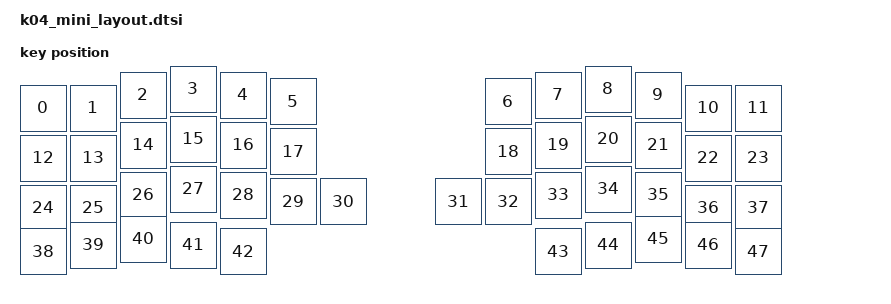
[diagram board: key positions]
#include <physical_layouts.dtsi>

/ {
    physical_layout: physical_layout {
        compatible = "zmk,physical-layout";
        display-name = "K:04 Mini";

        kscan = <&kscan0>;
        transform = <&default_transform>;

        keys  //                     w   h    x    y     rot    rx    ry
            = <&key_physical_attrs 100 100    0   38       0     0     0>
            , <&key_physical_attrs 100 100  100   38       0     0     0>
            , <&key_physical_attrs 100 100  200   12       0     0     0>
            , <&key_physical_attrs 100 100  300    0       0     0     0>
            , <&key_physical_attrs 100 100  400   12       0     0     0>
            , <&key_physical_attrs 100 100  500   25       0     0     0>
            , <&key_physical_attrs 100 100  930   25       0     0     0>
            , <&key_physical_attrs 100 100 1030   12       0     0     0>
            , <&key_physical_attrs 100 100 1130    0       0     0     0>
            , <&key_physical_attrs 100 100 1230   12       0     0     0>
            , <&key_physical_attrs 100 100 1330   38       0     0     0>
            , <&key_physical_attrs 100 100 1430   38       0     0     0>
            , <&key_physical_attrs 100 100    0  138       0     0     0>
            , <&key_physical_attrs 100 100  100  138       0     0     0>
            , <&key_physical_attrs 100 100  200  112       0     0     0>
            , <&key_physical_attrs 100 100  300  100       0     0     0>
            , <&key_physical_attrs 100 100  400  112       0     0     0>
            , <&key_physical_attrs 100 100  500  125       0     0     0>
            , <&key_physical_attrs 100 100  930  125       0     0     0>
            , <&key_physical_attrs 100 100 1030  112       0     0     0>
            , <&key_physical_attrs 100 100 1130  100       0     0     0>
            , <&key_physical_attrs 100 100 1230  112       0     0     0>
            , <&key_physical_attrs 100 100 1330  138       0     0     0>
            , <&key_physical_attrs 100 100 1430  138       0     0     0>
            , <&key_physical_attrs 100 100    0  238       0     0     0>
            , <&key_physical_attrs 100 100  100  238       0     0     0>
            , <&key_physical_attrs 100 100  200  212       0     0     0>
            , <&key_physical_attrs 100 100  300  200       0     0     0>
            , <&key_physical_attrs 100 100  400  212       0     0     0>
            , <&key_physical_attrs 100 100  500  225       0     0     0>
            , <&key_physical_attrs 100 100  600  225       0     0     0>
            , <&key_physical_attrs 100 100  830  225       0     0     0>
            , <&key_physical_attrs 100 100  930  225       0     0     0>
            , <&key_physical_attrs 100 100 1030  212       0     0     0>
            , <&key_physical_attrs 100 100 1130  200       0     0     0>
            , <&key_physical_attrs 100 100 1230  212       0     0     0>
            , <&key_physical_attrs 100 100 1330  238       0     0     0>
            , <&key_physical_attrs 100 100 1430  238       0     0     0>
            , <&key_physical_attrs 100 100    0  325       0     0     0>
            , <&key_physical_attrs 100 100  100  312       0     0     0>
            , <&key_physical_attrs 100 100  200  300       0     0     0>
            , <&key_physical_attrs 100 100  300  312       0     0     0>
            , <&key_physical_attrs 100 100  400  325       0     0     0>
            , <&key_physical_attrs 100 100 1030  325       0     0     0>
            , <&key_physical_attrs 100 100 1130  312       0     0     0>
            , <&key_physical_attrs 100 100 1230  300       0     0     0>
            , <&key_physical_attrs 100 100 1330  312       0     0     0>
            , <&key_physical_attrs 100 100 1430  325       0     0     0>
      ;
    };
};
